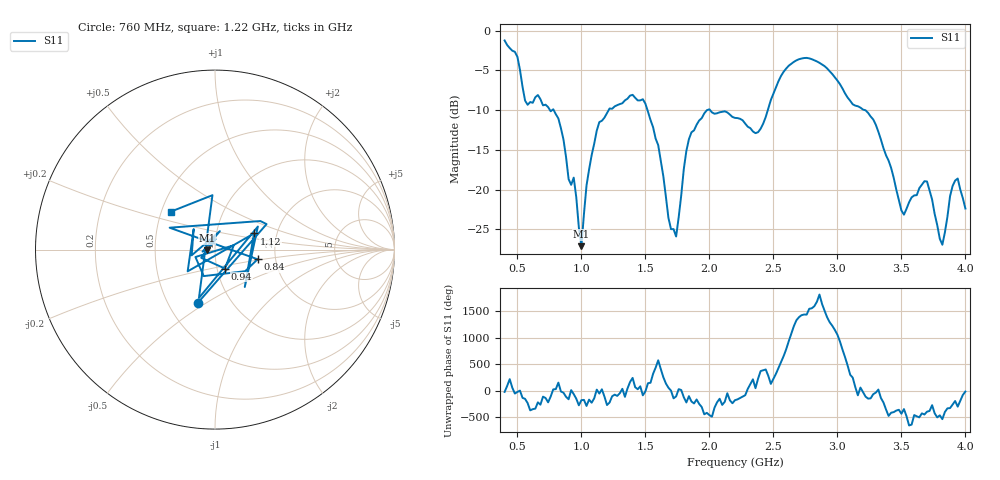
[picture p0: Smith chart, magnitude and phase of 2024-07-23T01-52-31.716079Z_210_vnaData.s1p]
!Created with skrf (http://scikit-rf.org).
# Hz S RI R 50.0
!freq ReS11 ImS11
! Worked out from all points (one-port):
!   181 points, 400 MHz to 4 GHz, reference 50 ohm
!   lowest |S11| = -27.1 dB at 1 GHz (marker M1), VSWR 1.09, Z = 45.8 - j0.287 ohm
!   |S11| at or under -10 dB: 1.516 GHz to 1.98 GHz (463.6 MHz wide, 26.5 % of centre); 2.006 GHz to 2.456 GHz (450.1 MHz wide, 20.2 % of centre); 3.218 GHz to end of sweep (the widest 3 of 5)
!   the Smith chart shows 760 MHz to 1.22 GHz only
!   S11 on the Smith chart (normalised r, x): 760 MHz: 0.70, -0.46; 840 MHz: 1.61, -0.18; 940 MHz: 1.09, -0.23; 1.12 GHz: 1.52, +0.29; 1.22 GHz: 0.56, +0.27
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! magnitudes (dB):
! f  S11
! 400 MHz  -1.2
! 580 MHz  -9.3
! 760 MHz  -10.1
! 840 MHz  -12.3
! 860 MHz  -13.7
! 900 MHz  -18.7
! 940 MHz  -18.5
! 1 GHz  -27.1
! 1.04 GHz  -19.5
! 1.12 GHz  -12.6
! 1.22 GHz  -9.8
! 1.3 GHz  -9.2
! 1.5 GHz  -9.2
! 1.6 GHz  -14.4
! 1.7 GHz  -25.0
! 1.76 GHz  -23.5
! 1.86 GHz  -12.8
! 2.2 GHz  -11.0
! 2.38 GHz  -12.8
! 2.66 GHz  -3.9
! 3.1 GHz  -8.8
! 3.3 GHz  -11.8
! 3.5 GHz  -22.6
! 3.56 GHz  -21.6
! 3.7 GHz  -19.0
! 3.82 GHz  -26.9
! 3.92 GHz  -18.8
! 4 GHz  -22.4
